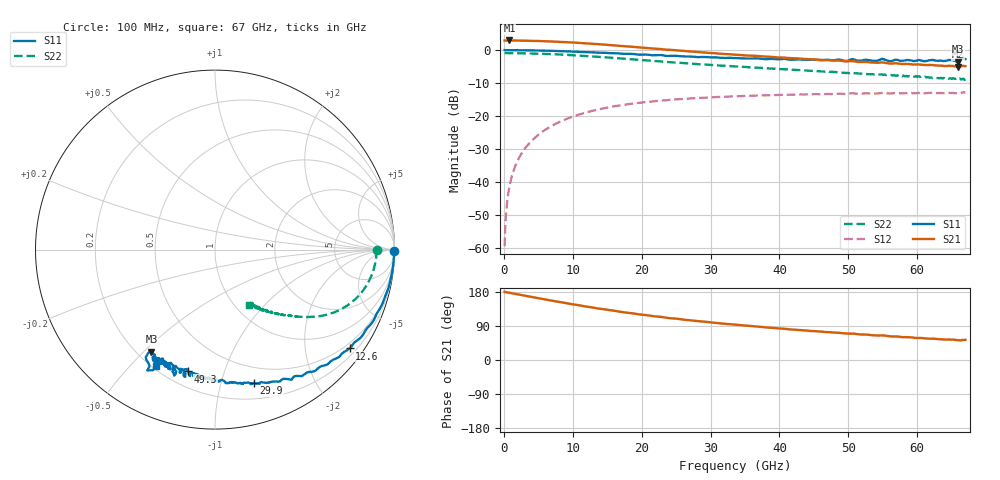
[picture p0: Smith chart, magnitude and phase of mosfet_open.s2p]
!Created with skrf (http://scikit-rf.org).
# Hz S RI R 50.0
!freq ReS11 ImS11 ReS21 ImS21 ReS12 ImS12 ReS22 ImS22
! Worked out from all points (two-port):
!   670 points, 100 MHz to 67 GHz, reference 50 ohm
!   highest |S21| = 2.92 dB at 800 MHz (marker M1); lowest = -5.1 dB at 65.9 GHz (marker M2)
!   |S21| within 3 dB of the highest: start of sweep to 25.06 GHz
!   lowest |S11| = -3.5 dB at 65.9 GHz (marker M3), VSWR 5.07, Z = 12.8 - j26.4 ohm
!   |S11| at or under -10 dB: nowhere
!   |S22| runs from -9.1 to -0.9 dB; largest |S21 - S12| = 1.4
!   S11 on the Smith chart (normalised r, x): 100 MHz: open; 12.6 GHz: 0.37, -3.01; 29.9 GHz: 0.34, -1.28; 49.3 GHz: 0.29, -0.76; 67 GHz: 0.21, -0.60
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1e8  0.9984 -0.00566  -1.395 0.00612  2.13e-06 0.00106  0.9011 -0.00257
5e8  0.9975 -0.0268  -1.396 0.0416  0.000136 0.00531  0.8998 -0.0154
8e8  0.9973 -0.0427  -1.398 0.0661  0.00032 0.00849  0.8993 -0.0246
1.3e9  0.9945 -0.069  -1.393 0.108  0.000821 0.0138  0.8978 -0.0401
1.9e9  0.9908 -0.1007  -1.385 0.1569  0.0017 0.02  0.8958 -0.0582
3.9e9  0.9695 -0.2024  -1.347 0.3154  0.00703 0.0403  0.8819 -0.1171
7.1e9  0.9036 -0.3525  -1.232 0.5466  0.0223 0.0687  0.8422 -0.2018
1.13e10  0.7845 -0.5111  -1.019 0.7695  0.0503 0.096  0.7684 -0.2876
1.26e10  0.7495 -0.5508  -0.949 0.8152  0.0595 0.1021  0.7437 -0.307
1.75e10  0.5772 -0.6582  -0.6667 0.9303  0.096 0.1134  0.6479 -0.3548
2.24e10  0.4292 -0.7205  -0.4325 0.9495  0.1258 0.1143  0.5648 -0.3729
2.99e10  0.2183 -0.7438  -0.1477 0.8921  0.1606 0.1032  0.4658 -0.3732
3.36e10  0.1363 -0.7452  -0.0477 0.8497  0.1738 0.0965  0.4261 -0.3695
4.47e10  -0.0887 -0.7125  0.1703 0.7063  0.202 0.0714  0.3293 -0.3528
4.93e10  -0.1495 -0.679  0.2274 0.6423  0.2083 0.0613  0.29 -0.345
5.07e10  -0.1652 -0.7066  0.2359 0.6367  0.2126 0.0615  0.2863 -0.3467
5.39e10  -0.2217 -0.6485  0.2714 0.5813  0.2126 0.0499  0.2676 -0.3374
5.5e10  -0.2215 -0.6937  0.2774 0.5847  0.2171 0.0521  0.2568 -0.3333
5.59e10  -0.238 -0.6415  0.2886 0.5568  0.2145 0.0454  0.2529 -0.3296
6.49e10  -0.3425 -0.6157  0.3414 0.461  0.2217 0.0267  0.2073 -0.3063
6.59e10  -0.3538 -0.5694  0.3428 0.4405  0.2175 0.0218  0.2063 -0.2997
6.7e10  -0.3271 -0.6513  0.3419 0.4571  0.2245 0.029  0.1896 -0.306
